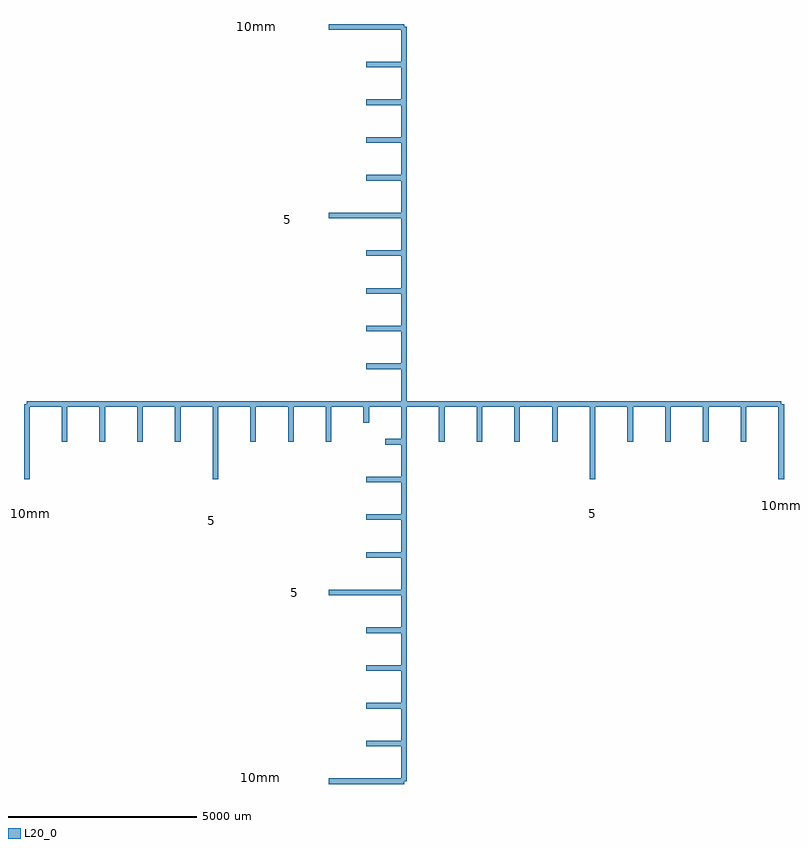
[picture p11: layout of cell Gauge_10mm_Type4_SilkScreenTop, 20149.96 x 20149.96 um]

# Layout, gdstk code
import gdstk
lib = gdstk.Library(unit=1e-6, precision=1e-09)
L20_0 = (20, 0)

gauge_10mm_type4_silkscr = lib.new_cell('Gauge_10mm_Type4_SilkScreenTop')
gauge_10mm_type4_silkscr.add(gdstk.FlexPath([(9999.98,0),(9999.98,-1998.98)], 149.998, ends="flush", simple_path=True, layer=20, datatype=0))  # L20_0
gauge_10mm_type4_silkscr.add(gdstk.FlexPath([(0,0),(9999.98,0)], 149.998, ends="flush", simple_path=True, layer=20, datatype=0))  # L20_0
gauge_10mm_type4_silkscr.add(gdstk.FlexPath([(0,0),(0,-1998.98)], 149.998, ends="flush", simple_path=True, layer=20, datatype=0))  # L20_0
gauge_10mm_type4_silkscr.add(gdstk.FlexPath([(5001.26,0),(5001.26,-1998.98)], 149.998, ends="flush", simple_path=True, layer=20, datatype=0))  # L20_0
gauge_10mm_type4_silkscr.add(gdstk.FlexPath([(1000.76,0),(1000.76,-1000.76)], 149.998, ends="flush", simple_path=True, layer=20, datatype=0))  # L20_0
gauge_10mm_type4_silkscr.add(gdstk.FlexPath([(1998.98,0),(1998.98,-1000.76)], 149.998, ends="flush", simple_path=True, layer=20, datatype=0))  # L20_0
gauge_10mm_type4_silkscr.add(gdstk.FlexPath([(2999.74,0),(2999.74,-1000.76)], 149.998, ends="flush", simple_path=True, layer=20, datatype=0))  # L20_0
gauge_10mm_type4_silkscr.add(gdstk.FlexPath([(4000.5,0),(4000.5,-1000.76)], 149.998, ends="flush", simple_path=True, layer=20, datatype=0))  # L20_0
gauge_10mm_type4_silkscr.add(gdstk.FlexPath([(5999.48,0),(5999.48,-1000.76)], 149.998, ends="flush", simple_path=True, layer=20, datatype=0))  # L20_0
gauge_10mm_type4_silkscr.add(gdstk.FlexPath([(7000.24,0),(7000.24,-1000.76)], 149.998, ends="flush", simple_path=True, layer=20, datatype=0))  # L20_0
gauge_10mm_type4_silkscr.add(gdstk.FlexPath([(8001,0),(8001,-1000.76)], 149.998, ends="flush", simple_path=True, layer=20, datatype=0))  # L20_0
gauge_10mm_type4_silkscr.add(gdstk.FlexPath([(8999.22,0),(8999.22,-1000.76)], 149.998, ends="flush", simple_path=True, layer=20, datatype=0))  # L20_0
gauge_10mm_type4_silkscr.add(gdstk.FlexPath([(0,0),(0,9999.98)], 149.998, ends="flush", simple_path=True, layer=20, datatype=0))  # L20_0
gauge_10mm_type4_silkscr.add(gdstk.FlexPath([(0,9999.98),(-1998.98,9999.98)], 149.998, ends="flush", simple_path=True, layer=20, datatype=0))  # L20_0
gauge_10mm_type4_silkscr.add(gdstk.FlexPath([(0,5001.26),(-1998.98,5001.26)], 149.998, ends="flush", simple_path=True, layer=20, datatype=0))  # L20_0
gauge_10mm_type4_silkscr.add(gdstk.FlexPath([(0,1000.76),(-1000.76,1000.76)], 149.998, ends="flush", simple_path=True, layer=20, datatype=0))  # L20_0
gauge_10mm_type4_silkscr.add(gdstk.FlexPath([(0,1998.98),(-1000.76,1998.98)], 149.998, ends="flush", simple_path=True, layer=20, datatype=0))  # L20_0
gauge_10mm_type4_silkscr.add(gdstk.FlexPath([(0,2999.74),(-1000.76,2999.74)], 149.998, ends="flush", simple_path=True, layer=20, datatype=0))  # L20_0
gauge_10mm_type4_silkscr.add(gdstk.FlexPath([(0,4000.5),(-1000.76,4000.5)], 149.998, ends="flush", simple_path=True, layer=20, datatype=0))  # L20_0
gauge_10mm_type4_silkscr.add(gdstk.FlexPath([(0,5999.48),(-1000.76,5999.48)], 149.998, ends="flush", simple_path=True, layer=20, datatype=0))  # L20_0
gauge_10mm_type4_silkscr.add(gdstk.FlexPath([(0,7000.24),(-1000.76,7000.24)], 149.998, ends="flush", simple_path=True, layer=20, datatype=0))  # L20_0
gauge_10mm_type4_silkscr.add(gdstk.FlexPath([(0,8001),(-1000.76,8001)], 149.998, ends="flush", simple_path=True, layer=20, datatype=0))  # L20_0
gauge_10mm_type4_silkscr.add(gdstk.FlexPath([(0,8999.22),(-1000.76,8999.22)], 149.998, ends="flush", simple_path=True, layer=20, datatype=0))  # L20_0
gauge_10mm_type4_silkscr.add(gdstk.FlexPath([(0,0),(-9999.98,0)], 149.998, ends="flush", simple_path=True, layer=20, datatype=0))  # L20_0
gauge_10mm_type4_silkscr.add(gdstk.FlexPath([(-9999.98,0),(-9999.98,-1998.98)], 149.998, ends="flush", simple_path=True, layer=20, datatype=0))  # L20_0
gauge_10mm_type4_silkscr.add(gdstk.FlexPath([(-5001.26,0),(-5001.26,-1998.98)], 149.998, ends="flush", simple_path=True, layer=20, datatype=0))  # L20_0
gauge_10mm_type4_silkscr.add(gdstk.FlexPath([(-1998.98,0),(-1998.98,-1000.76)], 149.998, ends="flush", simple_path=True, layer=20, datatype=0))  # L20_0
gauge_10mm_type4_silkscr.add(gdstk.FlexPath([(-2999.74,0),(-2999.74,-1000.76)], 149.998, ends="flush", simple_path=True, layer=20, datatype=0))  # L20_0
gauge_10mm_type4_silkscr.add(gdstk.FlexPath([(-4000.5,0),(-4000.5,-1000.76)], 149.998, ends="flush", simple_path=True, layer=20, datatype=0))  # L20_0
gauge_10mm_type4_silkscr.add(gdstk.FlexPath([(-5999.48,0),(-5999.48,-1000.76)], 149.998, ends="flush", simple_path=True, layer=20, datatype=0))  # L20_0
gauge_10mm_type4_silkscr.add(gdstk.FlexPath([(-7000.24,0),(-7000.24,-1000.76)], 149.998, ends="flush", simple_path=True, layer=20, datatype=0))  # L20_0
gauge_10mm_type4_silkscr.add(gdstk.FlexPath([(-8001,0),(-8001,-1000.76)], 149.998, ends="flush", simple_path=True, layer=20, datatype=0))  # L20_0
gauge_10mm_type4_silkscr.add(gdstk.FlexPath([(-8999.22,0),(-8999.22,-1000.76)], 149.998, ends="flush", simple_path=True, layer=20, datatype=0))  # L20_0
gauge_10mm_type4_silkscr.add(gdstk.FlexPath([(0,-9999.98),(-1998.98,-9999.98)], 149.998, ends="flush", simple_path=True, layer=20, datatype=0))  # L20_0
gauge_10mm_type4_silkscr.add(gdstk.FlexPath([(0,-1998.98),(0,-9999.98)], 149.998, ends="flush", simple_path=True, layer=20, datatype=0))  # L20_0
gauge_10mm_type4_silkscr.add(gdstk.FlexPath([(0,-5001.26),(-1998.98,-5001.26)], 149.998, ends="flush", simple_path=True, layer=20, datatype=0))  # L20_0
gauge_10mm_type4_silkscr.add(gdstk.FlexPath([(0,-1000.76),(-500.38,-1000.76)], 149.998, ends="flush", simple_path=True, layer=20, datatype=0))  # L20_0
gauge_10mm_type4_silkscr.add(gdstk.FlexPath([(-1000.76,0),(-1000.76,-500.38)], 149.998, ends="flush", simple_path=True, layer=20, datatype=0))  # L20_0
gauge_10mm_type4_silkscr.add(gdstk.FlexPath([(0,-1998.98),(-1000.76,-1998.98)], 149.998, ends="flush", simple_path=True, layer=20, datatype=0))  # L20_0
gauge_10mm_type4_silkscr.add(gdstk.FlexPath([(0,-2999.74),(-1000.76,-2999.74)], 149.998, ends="flush", simple_path=True, layer=20, datatype=0))  # L20_0
gauge_10mm_type4_silkscr.add(gdstk.FlexPath([(0,-4000.5),(-1000.76,-4000.5)], 149.998, ends="flush", simple_path=True, layer=20, datatype=0))  # L20_0
gauge_10mm_type4_silkscr.add(gdstk.FlexPath([(0,-5999.48),(-1000.76,-5999.48)], 149.998, ends="flush", simple_path=True, layer=20, datatype=0))  # L20_0
gauge_10mm_type4_silkscr.add(gdstk.FlexPath([(0,-7000.24),(-1000.76,-7000.24)], 149.998, ends="flush", simple_path=True, layer=20, datatype=0))  # L20_0
gauge_10mm_type4_silkscr.add(gdstk.FlexPath([(0,-8001),(-1000.76,-8001)], 149.998, ends="flush", simple_path=True, layer=20, datatype=0))  # L20_0
gauge_10mm_type4_silkscr.add(gdstk.FlexPath([(0,-8999.22),(-1000.76,-8999.22)], 149.998, ends="flush", simple_path=True, layer=20, datatype=0))  # L20_0
gauge_10mm_type4_silkscr.add(gdstk.Label('10mm', (9999.98,-2700.02), layer=9, texttype=0))
gauge_10mm_type4_silkscr.add(gdstk.Label('5', (4998.72,-2900.68), layer=9, texttype=0))
gauge_10mm_type4_silkscr.add(gdstk.Label('5', (-3101.34,4899.66), layer=9, texttype=0))
gauge_10mm_type4_silkscr.add(gdstk.Label('10mm', (-3901.44,9999.98), layer=9, texttype=0))
gauge_10mm_type4_silkscr.add(gdstk.Label('5', (-2900.68,-4998.72), layer=9, texttype=0))
gauge_10mm_type4_silkscr.add(gdstk.Label('5', (-5100.32,-3098.8), layer=9, texttype=0))
gauge_10mm_type4_silkscr.add(gdstk.Label('10mm', (-3799.84,-9900.92), layer=9, texttype=0))
gauge_10mm_type4_silkscr.add(gdstk.Label('10mm', (-9898.38,-2900.68), layer=9, texttype=0))
gauge_10mm_type4_silkscr.add(gdstk.Label('type', (1198.88,-13700.76), layer=9, texttype=0))
gauge_10mm_type4_silkscr.add(gdstk.Label('devicename', (-800.1,14000.48), layer=9, texttype=0))

lib.write_gds('Gauge_10mm_Type4_SilkScreenTop.gds')
